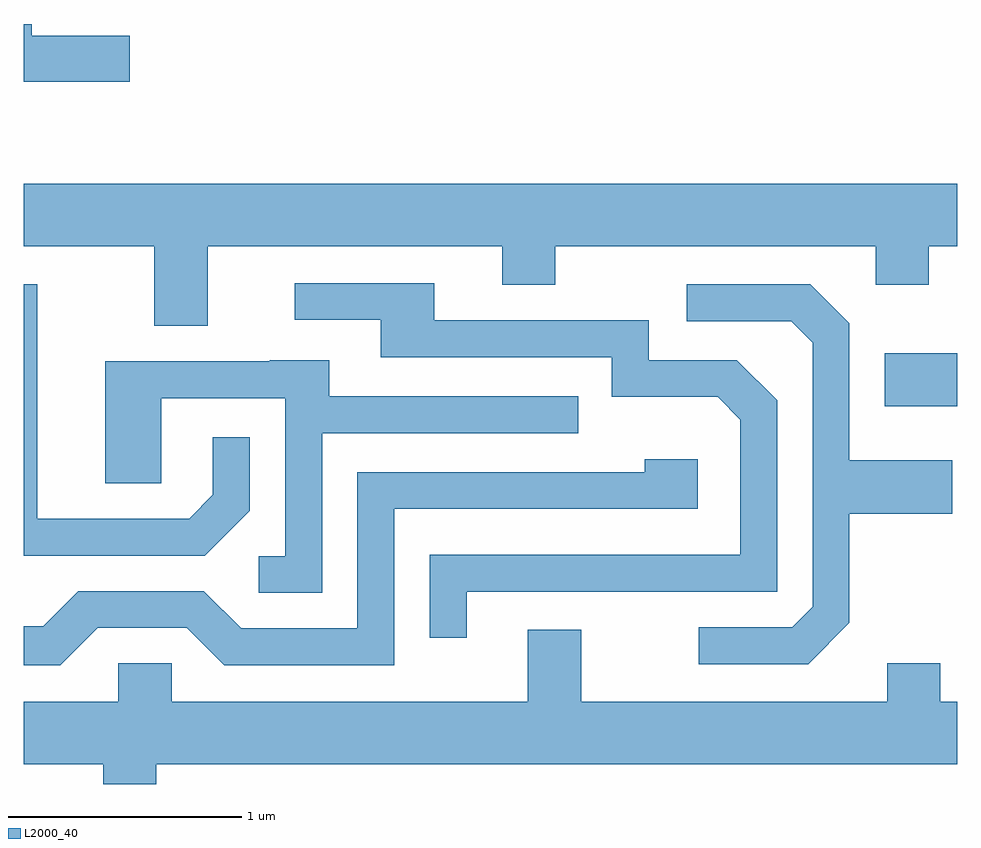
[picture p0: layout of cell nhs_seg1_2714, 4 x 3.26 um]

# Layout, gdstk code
import gdstk
lib = gdstk.Library(unit=1e-6, precision=1e-09)
def R(c, l, rs):  # rectangles x0, y0, x1, y1
    for r in rs: c.add(gdstk.rectangle(r[:2], r[2:], *l))
def P(c, l, *ps):  # polygons
    for p in ps: c.add(gdstk.Polygon(p, *l))
L2000_40 = (2000, 40)

nhs_seg1_2714 = lib.new_cell('nhs_seg1_2714')
R(nhs_seg1_2714, L2000_40, [(271.301,903.331,271.611,903.559)])
P(nhs_seg1_2714, L2000_40, [(268.064,904.919),(267.644,904.919),(267.644,904.969),(267.611,904.969),(267.611,904.721),(268.064,904.721)],
  [(268.399,904.016),(269.661,904.016),(269.661,903.851),(269.889,903.851),(269.889,904.016),(271.261,904.016),(271.261,903.851),(271.489,903.851),(271.489,904.016),(271.611,904.016),(271.611,904.284),(267.611,904.284),(267.611,904.016),(268.171,904.016),(268.171,903.676),(268.399,903.676)],
  [(269.509,902.536),(270.839,902.536),(270.839,903.357),(270.667,903.529),(270.289,903.529),(270.289,903.699),(269.369,903.699),(269.369,903.859),(268.773,903.859),(268.773,903.701),(269.141,903.701),(269.141,903.541),(270.131,903.541),(270.131,903.371),(270.584,903.371),(270.681,903.274),(270.681,902.694),(269.351,902.694),(269.351,902.338),(269.509,902.338)],
  [(268.579,902.884),(268.579,903.198),(268.421,903.198),(268.421,902.952),(268.319,902.849),(267.669,902.849),(267.669,903.854),(267.611,903.854),(267.611,902.691),(268.387,902.691)],
  [(271.149,902.404),(271.149,902.871),(271.589,902.871),(271.589,903.099),(271.149,903.099),(271.149,903.687),(270.982,903.854),(270.453,903.854),(270.453,903.696),(270.899,903.696),(270.991,903.604),(270.991,902.472),(270.904,902.384),(270.503,902.384),(270.503,902.226),(270.972,902.226)],
  [(268.889,903.216),(269.988,903.216),(269.988,903.374),(268.919,903.374),(268.919,903.529),(268.665,903.529),(268.665,903.524),(267.961,903.524),(267.961,903.001),(268.199,903.001),(268.199,903.366),(268.731,903.366),(268.731,902.689),(268.618,902.689),(268.618,902.531),(268.889,902.531)],
  [(267.927,902.381),(268.309,902.381),(268.469,902.221),(269.199,902.221),(269.199,902.891),(270.499,902.891),(270.499,903.104),(270.271,903.104),(270.271,903.049),(269.041,903.049),(269.041,902.379),(268.542,902.379),(268.382,902.539),(267.844,902.539),(267.694,902.389),(267.611,902.389),(267.611,902.221),(267.767,902.221)],
  [(268.179,901.796),(271.611,901.796),(271.611,902.064),(271.539,902.064),(271.539,902.229),(271.311,902.229),(271.311,902.064),(269.999,902.064),(269.999,902.374),(269.771,902.374),(269.771,902.064),(268.244,902.064),(268.244,902.229),(268.016,902.229),(268.016,902.064),(267.611,902.064),(267.611,901.796),(267.951,901.796),(267.951,901.712),(268.179,901.712)])

lib.write_gds('nhs_seg1_2714.gds')
